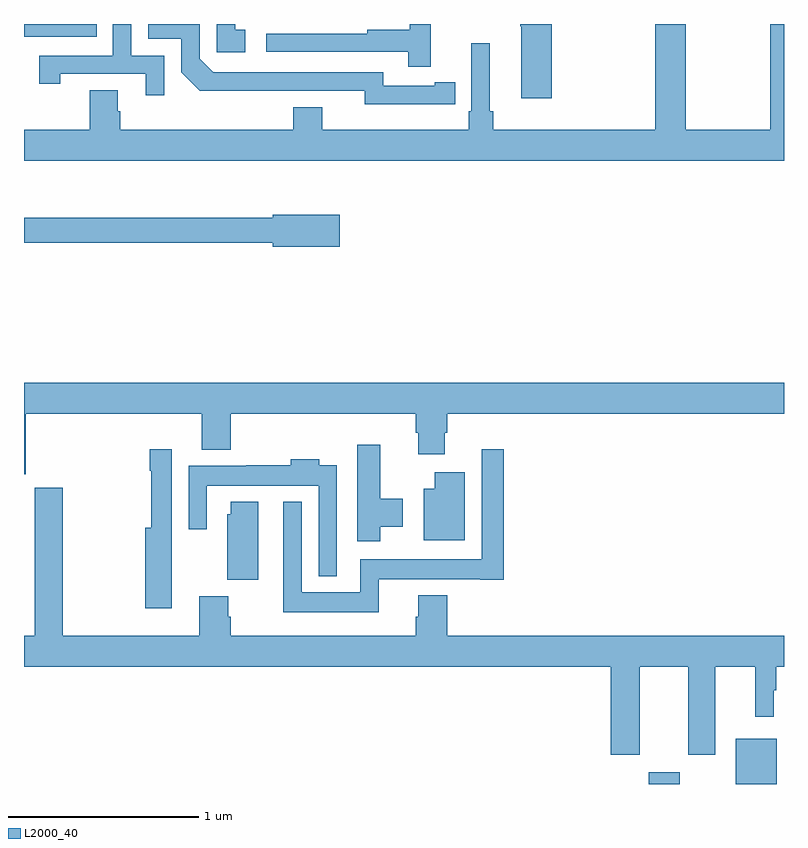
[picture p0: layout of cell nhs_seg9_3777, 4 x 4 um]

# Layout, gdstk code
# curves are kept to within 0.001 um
import gdstk
lib = gdstk.Library(unit=1e-6, precision=1e-09)
def R(c, l, rs):  # rectangles x0, y0, x1, y1
    for r in rs: c.add(gdstk.rectangle(r[:2], r[2:], *l))
def P(c, l, *ps):  # polygons
    for p in ps: c.add(gdstk.Polygon(p, *l))
L2000_40 = (2000, 40)

nhs_seg9_3777 = lib.new_cell('nhs_seg9_3777')
R(nhs_seg9_3777, L2000_40, [(330.287,1166.5,330.451,1166.563), (330.746,1166.5,330.961,1166.737), (327,1170.432,327.383,1170.5)])
P(nhs_seg9_3777, L2000_40, [(331,1170.5),(330.928,1170.5),(330.928,1169.944),(330.483,1169.944),(330.483,1170.5),(330.323,1170.5),(330.323,1169.944),(329.471,1169.944),(329.471,1170.04),(329.452,1170.04),(329.452,1170.4),(329.355,1170.4),(329.355,1170.04),(329.342,1170.04),(329.342,1169.944),(328.57,1169.944),(328.57,1170.061),(328.418,1170.061),(328.418,1169.944),(327.506,1169.944),(327.506,1170.042),(327.493,1170.042),(327.493,1170.152),(327.346,1170.152),(327.346,1169.944),(327,1169.944),(327,1169.78),(331,1169.78)],
  [(328.165,1170.471),(328.112,1170.471),(328.112,1170.5),(328.014,1170.5),(328.014,1170.351),(328.165,1170.351)],
  [(327.738,1170.333),(327.564,1170.333),(327.564,1170.5),(327.468,1170.5),(327.468,1170.333),(327.079,1170.333),(327.079,1170.186),(327.19,1170.186),(327.19,1170.237),(327.641,1170.237),(327.641,1170.126),(327.738,1170.126)],
  [(329.777,1170.5),(329.611,1170.5),(329.611,1170.487),(329.618,1170.487),(329.618,1170.108),(329.777,1170.108)],
  [(329.162,1170.078),(329.27,1170.078),(329.27,1170.194),(329.162,1170.194),(329.162,1170.174),(328.89,1170.174),(328.89,1170.246),(327.996,1170.246),(327.924,1170.318),(327.924,1170.5),(327.654,1170.5),(327.654,1170.423),(327.828,1170.423),(327.828,1170.246),(327.926,1170.149),(328.794,1170.15),(328.794,1170.077)],
  [(329.141,1170.5),(329.031,1170.5),(329.031,1170.47),(328.807,1170.47),(328.807,1170.45),(328.275,1170.45),(328.275,1170.354),(329.023,1170.354),(329.023,1170.276),(329.141,1170.276)],
  [(328.663,1169.497),(328.31,1169.497),(328.31,1169.479),(327,1169.479),(327,1169.35),(328.31,1169.35),(328.31,1169.327),(328.663,1169.327)],
  [(327.01,1168.448),(327.935,1168.448),(327.935,1168.259),(328.088,1168.259),(328.088,1168.448),(329.063,1168.448),(329.063,1168.35),(329.075,1168.35),(329.075,1168.236),(329.215,1168.236),(329.215,1168.35),(329.228,1168.35),(329.228,1168.448),(331,1168.448),(331,1168.612),(327,1168.612),(327,1168.131),(327.01,1168.131)],
  [(328.876,1167.854),(328.993,1167.854),(328.993,1168.002),(328.876,1168.002),(328.876,1168.285),(328.754,1168.285),(328.754,1167.777),(328.876,1167.777)],
  [(327.778,1167.746),(327.777,1167.746),(327.777,1168.261),(327.661,1168.261),(327.661,1168.148),(327.669,1168.148),(327.669,1167.85),(327.637,1167.85),(327.637,1167.426),(327.778,1167.426)],
  [(328.868,1167.578),(329.402,1167.578),(329.402,1167.576),(329.525,1167.576),(329.525,1168.261),(329.409,1168.261),(329.409,1167.682),(328.77,1167.682),(328.77,1167.508),(328.461,1167.508),(328.461,1167.985),(328.364,1167.985),(328.364,1167.404),(328.868,1167.404)],
  [(328.647,1168.177),(328.555,1168.177),(328.555,1168.21),(328.403,1168.21),(328.403,1168.177),(328.171,1168.177),(328.171,1168.174),(327.867,1168.174),(327.867,1167.84),(327.963,1167.84),(327.963,1168.07),(328.551,1168.07),(328.551,1167.593),(328.647,1167.593)],
  [(329.32,1168.141),(329.162,1168.141),(329.162,1168.054),(329.105,1168.054),(329.105,1167.782),(329.32,1167.782)],
  [(330.241,1167.116),(330.497,1167.116),(330.497,1166.655),(330.637,1166.655),(330.637,1167.116),(330.848,1167.116),(330.848,1166.853),(330.946,1166.853),(330.946,1166.993),(330.958,1166.993),(330.958,1167.116),(331,1167.116),(331,1167.28),(329.228,1167.28),(329.228,1167.493),(329.075,1167.493),(329.075,1167.381),(329.063,1167.381),(329.063,1167.28),(328.088,1167.28),(328.088,1167.38),(328.075,1167.38),(328.075,1167.489),(327.923,1167.489),(327.923,1167.28),(327.204,1167.28),(327.204,1168.059),(327.056,1168.059),(327.056,1167.28),(327,1167.28),(327,1167.116),(330.089,1167.116),(330.089,1166.655),(330.241,1166.655)],
  [(328.234,1167.985),(328.088,1167.985),(328.088,1167.921),(328.07,1167.921),(328.07,1167.574),(328.234,1167.574)])

lib.write_gds('nhs_seg9_3777.gds')
